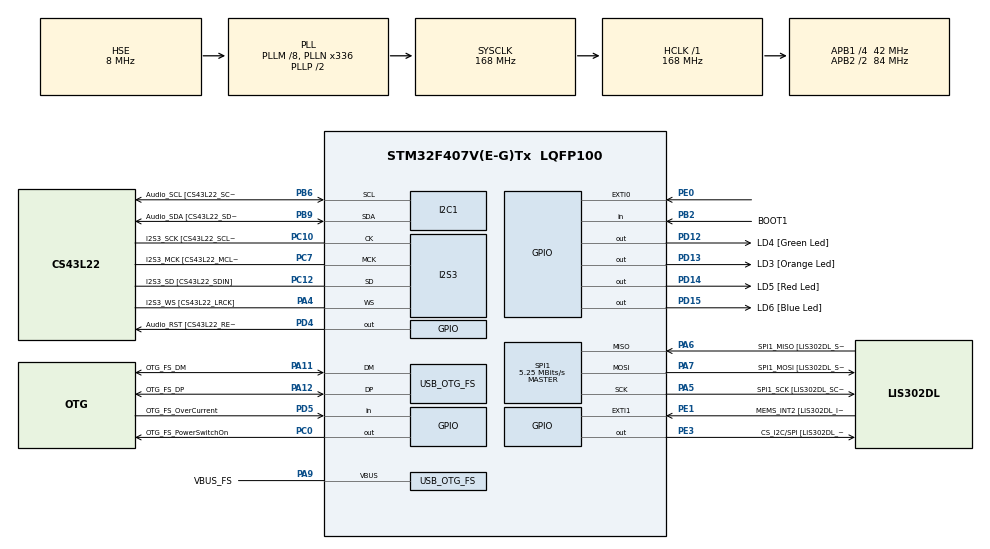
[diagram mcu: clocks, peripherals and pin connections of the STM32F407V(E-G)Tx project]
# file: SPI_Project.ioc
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I2S3.AudioFreq-Half_Duplex_Master=I2S_AUDIOFREQ_96K
I2S3.ErrorAudioFreq=-2.34 %
I2S3.ErrorAudioFreq-Half_Duplex_Master=0.8 %
I2S3.FullDuplexMode=I2S_FULLDUPLEXMODE_DISABLE
I2S3.Instance=SPI$Index
I2S3.RealAudioFreq=93.75 KHz
I2S3.RealAudioFreq-Half_Duplex_Master=96.774 KHz
I2S3.VirtualMode=I2S_MODE_MASTER
Mcu.Family=STM32F4
Mcu.Name=STM32F407V(E-G)Tx
Mcu.Package=LQFP100
NVIC.EXTI0_IRQn=true\:0\:0\:false\:false\:true\:true\:true
NVIC.OTG_FS_IRQn=true\:0\:0\:false\:false\:true\:true\:true
NVIC.PriorityGroup=NVIC_PRIORITYGROUP_0
PA10.GPIO_Label=OTG_FS_ID
PA10.GPIO_Mode=GPIO_MODE_AF_PP
PA10.GPIO_PuPd=GPIO_NOPULL
PA10.GPIO_Speed=GPIO_SPEED_FREQ_LOW
PA10.Signal=USB_OTG_FS_ID
PA11.GPIO_Label=OTG_FS_DM
PA11.GPIO_Mode=GPIO_MODE_AF_PP
PA11.GPIO_PuPd=GPIO_NOPULL
PA11.GPIO_Speed=GPIO_SPEED_FREQ_LOW
PA11.Mode=Host_Only
PA11.Signal=USB_OTG_FS_DM
PA12.GPIO_Label=OTG_FS_DP
PA12.GPIO_Mode=GPIO_MODE_AF_PP
PA12.GPIO_PuPd=GPIO_NOPULL
PA12.GPIO_Speed=GPIO_SPEED_FREQ_LOW
PA12.Mode=Host_Only
PA12.Signal=USB_OTG_FS_DP
PA13.GPIO_Label=SWDIO
PA13.Mode=Serial_Wire
PA13.Signal=SYS_JTMS-SWDIO
PA14.GPIO_Label=SWCLK
PA14.Mode=Serial_Wire
PA14.Signal=SYS_JTCK-SWCLK
PA4.GPIO_Label=I2S3_WS [CS43L22_LRCK]
PA4.GPIO_Mode=GPIO_MODE_AF_PP
PA4.GPIO_PuPd=GPIO_NOPULL
PA4.GPIO_Speed=GPIO_SPEED_FREQ_LOW
PA4.Mode=Half_Duplex_Master
PA4.Signal=I2S3_WS
PA5.GPIO_Label=SPI1_SCK [LIS302DL_SCL/SPC]
PA5.GPIO_Mode=GPIO_MODE_AF_PP
PA5.GPIO_PuPd=GPIO_NOPULL
PA5.GPIO_Speed=GPIO_SPEED_FREQ_LOW
PA5.Mode=Full_Duplex_Master
PA5.Signal=SPI1_SCK
PA6.GPIO_Label=SPI1_MISO [LIS302DL_SDO]
PA6.GPIO_Mode=GPIO_MODE_AF_PP
PA6.GPIO_PuPd=GPIO_NOPULL
PA6.GPIO_Speed=GPIO_SPEED_FREQ_LOW
PA6.Mode=Full_Duplex_Master
PA6.Signal=SPI1_MISO
PA7.GPIO_Label=SPI1_MOSI [LIS302DL_SDA/SDI/SDO]
PA7.GPIO_Mode=GPIO_MODE_AF_PP
PA7.GPIO_PuPd=GPIO_NOPULL
PA7.GPIO_Speed=GPIO_SPEED_FREQ_LOW
PA7.Mode=Full_Duplex_Master
PA7.Signal=SPI1_MOSI
PA9.GPIO_Label=VBUS_FS
PA9.GPIO_Mode=GPIO_MODE_INPUT
PA9.GPIO_PuPd=GPIO_NOPULL
PA9.Mode=Activate_VBUS
PA9.Signal=USB_OTG_FS_VBUS
PB10.GPIO_Label=CLK_IN [MP45DT02_CLK]
PB10.GPIO_Mode=GPIO_MODE_AF_PP
PB10.GPIO_PuPd=GPIO_NOPULL
PB10.GPIO_Speed=GPIO_SPEED_FREQ_LOW
PB10.Signal=I2S2_CK
PB2.GPIO_Label=BOOT1
PB2.GPIO_Mode=GPIO_MODE_INPUT
PB2.GPIO_PuPd=GPIO_NOPULL
PB2.Signal=GPIO_Input
PB3.GPIO_Label=SWO
PB3.Signal=SYS_JTDO-SWO
PB6.GPIO_Label=Audio_SCL [CS43L22_SCL]
PB6.GPIO_Mode=GPIO_MODE_AF_OD
PB6.GPIO_Pu=GPIO_PULLUP
PB6.GPIO_PuPd=GPIO_NOPULL
PB6.GPIO_Speed=GPIO_SPEED_FREQ_LOW
PB6.Mode=I2C
PB6.Signal=I2C1_SCL
PB9.GPIO_Label=Audio_SDA [CS43L22_SDA]
PB9.GPIO_Mode=GPIO_MODE_AF_OD
PB9.GPIO_Pu=GPIO_PULLUP
PB9.GPIO_PuPd=GPIO_NOPULL
PB9.GPIO_Speed=GPIO_SPEED_FREQ_LOW
PB9.Mode=I2C
PB9.Signal=I2C1_SDA
PC0.GPIO_Label=OTG_FS_PowerSwitchOn
PC0.GPIO_PuPd=GPIO_NOPULL
PC0.GPIO_Speed=GPIO_SPEED_FREQ_LOW
PC0.PinState=GPIO_PIN_SET
PC0.Signal=GPIO_Output
PC10.GPIO_Label=I2S3_SCK [CS43L22_SCLK]
PC10.GPIO_Mode=GPIO_MODE_AF_PP
PC10.GPIO_PuPd=GPIO_NOPULL
PC10.GPIO_Speed=GPIO_SPEED_FREQ_LOW
PC10.Mode=Half_Duplex_Master
PC10.Signal=I2S3_CK
PC12.GPIO_Label=I2S3_SD [CS43L22_SDIN]
PC12.GPIO_Mode=GPIO_MODE_AF_PP
PC12.GPIO_PuPd=GPIO_NOPULL
PC12.GPIO_Speed=GPIO_SPEED_FREQ_LOW
PC12.Mode=Half_Duplex_Master
PC12.Signal=I2S3_SD
PC14-OSC32_IN.GPIO_Label=PC14-OSC32_IN
PC14-OSC32_IN.Mode=LSE-External-Oscillator
PC14-OSC32_IN.Signal=RCC_OSC32_IN
PC15-OSC32_OUT.GPIO_Label=PC15-OSC32_OUT
PC15-OSC32_OUT.Mode=LSE-External-Oscillator
PC15-OSC32_OUT.Signal=RCC_OSC32_OUT
PC3.GPIO_Label=PDM_OUT [MP45DT02_DOUT]
PC3.GPIO_Mode=GPIO_MODE_AF_PP
PC3.GPIO_PuPd=GPIO_NOPULL
PC3.GPIO_Speed=GPIO_SPEED_FREQ_LOW
PC3.Signal=I2S2_SD
PC7.GPIO_Label=I2S3_MCK [CS43L22_MCLK]
PC7.GPIO_Mode=GPIO_MODE_AF_PP
PC7.GPIO_PuPd=GPIO_NOPULL
PC7.GPIO_Speed=GPIO_SPEED_FREQ_LOW
PC7.Mode=Master_Clock_Activated
PC7.Signal=I2S3_MCK
PD12.GPIO_Label=LD4 [Green Led]
PD12.GPIO_PuPd=GPIO_NOPULL
PD12.GPIO_Speed=GPIO_SPEED_FREQ_LOW
PD12.Signal=GPIO_Output
PD13.GPIO_Label=LD3 [Orange Led]
PD13.GPIO_PuPd=GPIO_NOPULL
PD13.GPIO_Speed=GPIO_SPEED_FREQ_LOW
PD13.Signal=GPIO_Output
PD14.GPIO_Label=LD5 [Red Led]
PD14.GPIO_PuPd=GPIO_NOPULL
PD14.GPIO_Speed=GPIO_SPEED_FREQ_LOW
PD14.Signal=GPIO_Output
PD15.GPIO_Label=LD6 [Blue Led]
PD15.GPIO_PuPd=GPIO_NOPULL
PD15.GPIO_Speed=GPIO_SPEED_FREQ_LOW
PD15.Signal=GPIO_Output
PD4.GPIO_Label=Audio_RST [CS43L22_RESET]
PD4.GPIO_PuPd=GPIO_NOPULL
PD4.GPIO_Speed=GPIO_SPEED_FREQ_LOW
PD4.Signal=GPIO_Output
PD5.GPIO_Label=OTG_FS_OverCurrent
PD5.GPIO_Mode=GPIO_MODE_INPUT
PD5.GPIO_PuPd=GPIO_NOPULL
PD5.Signal=GPIO_Input
PE0.Signal=GPXTI0
PE1.GPIO_Label=MEMS_INT2 [LIS302DL_INT2]
PE1.GPIO_ModeDefaultEXTI=GPIO_MODE_EVT_RISING
PE1.GPIO_PuPd=GPIO_NOPULL
PE1.Signal=GPXTI1
PE3.GPIO_Label=CS_I2C/SPI [LIS302DL_CS_I2C/SPI]
PE3.GPIO_PuPd=GPIO_NOPULL
PE3.GPIO_Speed=GPIO_SPEED_FREQ_LOW
PE3.Signal=GPIO_Output
PH0-OSC_IN.GPIO_Label=PH0-OSC_IN
PH0-OSC_IN.Mode=HSE-External-Oscillator
PH0-OSC_IN.Signal=RCC_OSC_IN
PH1-OSC_OUT.GPIO_Label=PH1-OSC_OUT
PH1-OSC_OUT.Mode=HSE-External-Oscillator
PH1-OSC_OUT.Signal=RCC_OSC_OUT
ProjectManager.HeapSize=0x200
ProjectManager.StackSize=0x400
ProjectManager.TargetToolchain=STM32CubeIDE
RCC.48MHZClocksFreq_Value=48000000
RCC.AHBFreq_Value=168000000
RCC.APB1CLKDivider=RCC_HCLK_DIV4
RCC.APB1Freq_Value=42000000
RCC.APB1TimFreq_Value=84000000
RCC.APB2CLKDivider=RCC_HCLK_DIV2
RCC.APB2Freq_Value=84000000
RCC.APB2TimFreq_Value=168000000
RCC.CortexFreq_Value=168000000
RCC.HCLKFreq_Value=168000000
RCC.HSE_VALUE=8000000
RCC.HSI_VALUE=16000000
RCC.PLLM=8
RCC.PLLN=336
RCC.PLLQ=7
RCC.SYSCLKFreq_VALUE=168000000
RCC.SYSCLKSource=RCC_SYSCLKSOURCE_PLLCLK
RCC.VCOOutputFreq_Value=336000000
SPI1.BaudRatePrescaler=SPI_BAUDRATEPRESCALER_16
SPI1.BaudRatePrescaler-Full_Duplex_Master=SPI_BAUDRATEPRESCALER_2
SPI1.CalculateBaudRate=5.25 MBits/s
SPI1.CalculateBaudRate-Full_Duplex_Master=42.0 MBits/s
SPI1.Direction=SPI_DIRECTION_2LINES
SPI1.Mode=SPI_MODE_MASTER
SPI1.Mode-Full_Duplex_Master=SPI_MODE_MASTER
SPI1.VirtualType=VM_MASTER
USB_HOST.BSP.number=1
USB_HOST.USBH_HandleTypeDef-CDC_FS=hUsbHostFS
USB_HOST.VirtualModeFS=Cdc
USB_HOST0.BSP.STBoard=false
USB_HOST0.BSP.api=Unknown
USB_HOST0.BSP.i2caddr=0
USB_HOST0.BSP.i2creg=0
USB_HOST0.BSP.instance=PC0
USB_HOST0.BSP.ip=GPIO
USB_HOST0.BSP.mode=Output
USB_HOST0.BSP.name=Drive_VBUS_FS
USB_HOST0.BSP.solution=PC0
USB_OTG_FS.VirtualMode=Host_Only
USB_OTG_FS.phy_itface=HCD_PHY_EMBEDDED
VP_USB_HOST_VS_USB_HOST_CDC_FS.Mode=CDC_FS
board=STM32F407G-DISC1

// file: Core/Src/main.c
/* USER CODE BEGIN Header */
/**
 ******************************************************************************
 * @file           : main.c
 * @brief          : Main program body
 ******************************************************************************
 * @attention
 *
 * Copyright (c) 2022 STMicroelectronics.
 * All rights reserved.
 *
 * This software is licensed under terms that can be found in the LICENSE file
 * in the root directory of this software component.
 * If no LICENSE file comes with this software, it is provided AS-IS.
 *
 ******************************************************************************
 */
/* USER CODE END Header */
#include "main.h"
#include "usb_host.h"

/* USER CODE BEGIN Includes */
#define WHO_AM_I (0x0f)
#define CTRL_REG3 (0x23)
#define CTRL_REG4 (0x20)
#define CTRL_REG5 (0x24)
#define CTRL_REG6 (0x25)
#define FIFO_CTRL (0x2E)
#define OUT_X_H (0x29)
#define OUT_Y_H (0x2B)
#define OUT_Z_H (0x2D)
/* USER CODE END Includes */

I2C_HandleTypeDef hi2c1;

I2S_HandleTypeDef hi2s3;

SPI_HandleTypeDef hspi1;

void SystemClock_Config(void);
static void MX_GPIO_Init(void);
static void MX_I2C1_Init(void);
static void MX_I2S3_Init(void);
static void MX_SPI1_Init(void);
void MX_USB_HOST_Process(void);

/* USER CODE BEGIN 0 */

uint8_t SPI_LIS3DSH_Tx(uint8_t adr, uint8_t data) {

	HAL_GPIO_WritePin(GPIOE, GPIO_PIN_3, GPIO_PIN_RESET); //to start communication set SPI CS PIN(E3) low

	HAL_SPI_Transmit(&hspi1, &adr, 1, 10);
	HAL_SPI_Transmit(&hspi1, &data, 1, 10);

	HAL_GPIO_WritePin(GPIOE, GPIO_PIN_3, GPIO_PIN_SET); //to end communication set SPI CS PIN(E3) high
}

uint8_t SPI_LIS3DSH_Rx(uint8_t adr) {
	uint8_t rx = 0;
//when you read from spi your address data's MSB have to
	adr |= 0x80;

	HAL_GPIO_WritePin(GPIOE, GPIO_PIN_3, GPIO_PIN_RESET); //to start communication set SPI CS PIN(E3) low
	HAL_SPI_Transmit(&hspi1, &adr, 1, 10);
	HAL_SPI_Receive(&hspi1, &rx, 1, 10);
	HAL_GPIO_WritePin(GPIOE, GPIO_PIN_3, GPIO_PIN_SET); //to end communication set SPI CS PIN(E3) high
	return rx;
}

void LIS3DSH_Init() {

	SPI_LIS3DSH_Tx(CTRL_REG6, 0x80); //enable boot
	SPI_LIS3DSH_Tx(CTRL_REG3, 0x01); //reset the sensor
	HAL_Delay(100);
	if (SPI_LIS3DSH_Rx(WHO_AM_I) == 0x3f) { //we check the sensor work or not
		SPI_LIS3DSH_Tx(CTRL_REG3, 0x48); //set interrrupt signal polarity is high and interrupt 1 enable
		SPI_LIS3DSH_Tx(CTRL_REG4, 0x47); //set x,y,z axis enable and output clock is 25 Hz
		SPI_LIS3DSH_Tx(CTRL_REG6, 0x64); //activate fifo, fifo watermark(WTM_EN) and FIFO watermark interrupt
		SPI_LIS3DSH_Tx(FIFO_CTRL, 0x41); //stream mode
	}
}
int x, y, z;
void EXTI0_IRQHandler(void) {
	//this interrupts generates by pina0 so we clear line 0
	__HAL_GPIO_EXTI_CLEAR_IT(GPIO_PIN_0);
	x = SPI_LIS3DSH_Rx(OUT_X_H);
	y = SPI_LIS3DSH_Rx(OUT_Y_H);
	z = SPI_LIS3DSH_Rx(OUT_Z_H);

	if (x > 20) {

		HAL_GPIO_WritePin(GPIOD, GPIO_PIN_14, GPIO_PIN_SET);

	} else {

		HAL_GPIO_WritePin(GPIOD, GPIO_PIN_14, GPIO_PIN_RESET);

	}

	if (y > 20) {

		HAL_GPIO_WritePin(GPIOD, GPIO_PIN_13, GPIO_PIN_SET);

	} else {

		HAL_GPIO_WritePin(GPIOD, GPIO_PIN_13, GPIO_PIN_RESET);

	}

	if (z > 20) {

		HAL_GPIO_WritePin(GPIOD, GPIO_PIN_12, GPIO_PIN_SET);

	} else {

		HAL_GPIO_WritePin(GPIOD, GPIO_PIN_12, GPIO_PIN_RESET);

	}

}
/* USER CODE END 0 */

int main(void) {

	/* MCU Configuration--------------------------------------------------------*/

	/* Reset of all peripherals, Initializes the Flash interface and the Systick. */
	HAL_Init();

	/* Configure the system clock */
	SystemClock_Config();

	/* Initialize all configured peripherals */
	MX_GPIO_Init();
	MX_I2C1_Init();
	MX_I2S3_Init();
	MX_SPI1_Init();
	MX_USB_HOST_Init();
	/* USER CODE BEGIN 2 */

	LIS3DSH_Init();

	/* USER CODE END 2 */

	/* Infinite loop */
	while (1) {
		MX_USB_HOST_Process();

	}
	/* USER CODE END 3 */
}

void SystemClock_Config(void) {
	RCC_OscInitTypeDef RCC_OscInitStruct = { 0 };
	RCC_ClkInitTypeDef RCC_ClkInitStruct = { 0 };

	/** Configure the main internal regulator output voltage
	 */
	__HAL_RCC_PWR_CLK_ENABLE();
	__HAL_PWR_VOLTAGESCALING_CONFIG(PWR_REGULATOR_VOLTAGE_SCALE1);
	/** Initializes the RCC Oscillators according to the specified parameters
	 * in the RCC_OscInitTypeDef structure.
	 */
	RCC_OscInitStruct.OscillatorType = RCC_OSCILLATORTYPE_HSE;
	RCC_OscInitStruct.HSEState = RCC_HSE_ON;
	RCC_OscInitStruct.PLL.PLLState = RCC_PLL_ON;
	RCC_OscInitStruct.PLL.PLLSource = RCC_PLLSOURCE_HSE;
	RCC_OscInitStruct.PLL.PLLM = 8;
	RCC_OscInitStruct.PLL.PLLN = 336;
	RCC_OscInitStruct.PLL.PLLP = RCC_PLLP_DIV2;
	RCC_OscInitStruct.PLL.PLLQ = 7;
	if (HAL_RCC_OscConfig(&RCC_OscInitStruct) != HAL_OK) {
		Error_Handler();
	}
	/** Initializes the CPU, AHB and APB buses clocks
	 */
	RCC_ClkInitStruct.ClockType = RCC_CLOCKTYPE_HCLK | RCC_CLOCKTYPE_SYSCLK
			| RCC_CLOCKTYPE_PCLK1 | RCC_CLOCKTYPE_PCLK2;
	RCC_ClkInitStruct.SYSCLKSource = RCC_SYSCLKSOURCE_PLLCLK;
	RCC_ClkInitStruct.AHBCLKDivider = RCC_SYSCLK_DIV1;
	RCC_ClkInitStruct.APB1CLKDivider = RCC_HCLK_DIV4;
	RCC_ClkInitStruct.APB2CLKDivider = RCC_HCLK_DIV2;

	if (HAL_RCC_ClockConfig(&RCC_ClkInitStruct, FLASH_LATENCY_5) != HAL_OK) {
		Error_Handler();
	}
}

static void MX_I2C1_Init(void) {

	hi2c1.Instance = I2C1;
	hi2c1.Init.ClockSpeed = 100000;
	hi2c1.Init.DutyCycle = I2C_DUTYCYCLE_2;
	hi2c1.Init.OwnAddress1 = 0;
	hi2c1.Init.AddressingMode = I2C_ADDRESSINGMODE_7BIT;
	hi2c1.Init.DualAddressMode = I2C_DUALADDRESS_DISABLE;
	hi2c1.Init.OwnAddress2 = 0;
	hi2c1.Init.GeneralCallMode = I2C_GENERALCALL_DISABLE;
	hi2c1.Init.NoStretchMode = I2C_NOSTRETCH_DISABLE;
	if (HAL_I2C_Init(&hi2c1) != HAL_OK) {
		Error_Handler();
	}

}

static void MX_I2S3_Init(void) {

	hi2s3.Instance = SPI3;
	hi2s3.Init.Mode = I2S_MODE_MASTER_TX;
	hi2s3.Init.Standard = I2S_STANDARD_PHILIPS;
	hi2s3.Init.DataFormat = I2S_DATAFORMAT_16B;
	hi2s3.Init.MCLKOutput = I2S_MCLKOUTPUT_ENABLE;
	hi2s3.Init.AudioFreq = I2S_AUDIOFREQ_96K;
	hi2s3.Init.CPOL = I2S_CPOL_LOW;
	hi2s3.Init.ClockSource = I2S_CLOCK_PLL;
	hi2s3.Init.FullDuplexMode = I2S_FULLDUPLEXMODE_DISABLE;
	if (HAL_I2S_Init(&hi2s3) != HAL_OK) {
		Error_Handler();
	}

}

static void MX_SPI1_Init(void) {

	/* SPI1 parameter configuration*/
	hspi1.Instance = SPI1;
	hspi1.Init.Mode = SPI_MODE_MASTER;
	hspi1.Init.Direction = SPI_DIRECTION_2LINES;
	hspi1.Init.DataSize = SPI_DATASIZE_8BIT;
	hspi1.Init.CLKPolarity = SPI_POLARITY_LOW;
	hspi1.Init.CLKPhase = SPI_PHASE_1EDGE;
	hspi1.Init.NSS = SPI_NSS_SOFT;
	hspi1.Init.BaudRatePrescaler = SPI_BAUDRATEPRESCALER_16;
	hspi1.Init.FirstBit = SPI_FIRSTBIT_MSB;
	hspi1.Init.TIMode = SPI_TIMODE_DISABLE;
	hspi1.Init.CRCCalculation = SPI_CRCCALCULATION_DISABLE;
	hspi1.Init.CRCPolynomial = 10;
	if (HAL_SPI_Init(&hspi1) != HAL_OK) {
		Error_Handler();
	}

}

static void MX_GPIO_Init(void) {
	GPIO_InitTypeDef GPIO_InitStruct = { 0 };

	/* GPIO Ports Clock Enable */
	__HAL_RCC_GPIOE_CLK_ENABLE();
	__HAL_RCC_GPIOC_CLK_ENABLE();
	__HAL_RCC_GPIOH_CLK_ENABLE();
	__HAL_RCC_GPIOA_CLK_ENABLE();
	__HAL_RCC_GPIOB_CLK_ENABLE();
	__HAL_RCC_GPIOD_CLK_ENABLE();

	/*Configure GPIO pin Output Level */
	HAL_GPIO_WritePin(CS_I2C_SPI_GPIO_Port, CS_I2C_SPI_Pin, GPIO_PIN_RESET);

	/*Configure GPIO pin Output Level */
	HAL_GPIO_WritePin(OTG_FS_PowerSwitchOn_GPIO_Port, OTG_FS_PowerSwitchOn_Pin,
			GPIO_PIN_SET);

	/*Configure GPIO pin Output Level */
	HAL_GPIO_WritePin(GPIOD,
			LD4_Pin | LD3_Pin | LD5_Pin | LD6_Pin | Audio_RST_Pin,
			GPIO_PIN_RESET);

	/*Configure GPIO pin : CS_I2C_SPI_Pin */
	GPIO_InitStruct.Pin = CS_I2C_SPI_Pin;
	GPIO_InitStruct.Mode = GPIO_MODE_OUTPUT_PP;
	GPIO_InitStruct.Pull = GPIO_NOPULL;
	GPIO_InitStruct.Speed = GPIO_SPEED_FREQ_LOW;
	HAL_GPIO_Init(CS_I2C_SPI_GPIO_Port, &GPIO_InitStruct);

	/*Configure GPIO pin : OTG_FS_PowerSwitchOn_Pin */
	GPIO_InitStruct.Pin = OTG_FS_PowerSwitchOn_Pin;
	GPIO_InitStruct.Mode = GPIO_MODE_OUTPUT_PP;
	GPIO_InitStruct.Pull = GPIO_NOPULL;
	GPIO_InitStruct.Speed = GPIO_SPEED_FREQ_LOW;
	HAL_GPIO_Init(OTG_FS_PowerSwitchOn_GPIO_Port, &GPIO_InitStruct);

	/*Configure GPIO pin : PDM_OUT_Pin */
	GPIO_InitStruct.Pin = PDM_OUT_Pin;
	GPIO_InitStruct.Mode = GPIO_MODE_AF_PP;
	GPIO_InitStruct.Pull = GPIO_NOPULL;
	GPIO_InitStruct.Speed = GPIO_SPEED_FREQ_LOW;
	GPIO_InitStruct.Alternate = GPIO_AF5_SPI2;
	HAL_GPIO_Init(PDM_OUT_GPIO_Port, &GPIO_InitStruct);

	/*Configure GPIO pin : BOOT1_Pin */
	GPIO_InitStruct.Pin = BOOT1_Pin;
	GPIO_InitStruct.Mode = GPIO_MODE_INPUT;
	GPIO_InitStruct.Pull = GPIO_NOPULL;
	HAL_GPIO_Init(BOOT1_GPIO_Port, &GPIO_InitStruct);

	/*Configure GPIO pin : CLK_IN_Pin */
	GPIO_InitStruct.Pin = CLK_IN_Pin;
	GPIO_InitStruct.Mode = GPIO_MODE_AF_PP;
	GPIO_InitStruct.Pull = GPIO_NOPULL;
	GPIO_InitStruct.Speed = GPIO_SPEED_FREQ_LOW;
	GPIO_InitStruct.Alternate = GPIO_AF5_SPI2;
	HAL_GPIO_Init(CLK_IN_GPIO_Port, &GPIO_InitStruct);

	/*Configure GPIO pins : LD4_Pin LD3_Pin LD5_Pin LD6_Pin
	 Audio_RST_Pin */
	GPIO_InitStruct.Pin = LD4_Pin | LD3_Pin | LD5_Pin | LD6_Pin | Audio_RST_Pin;
	GPIO_InitStruct.Mode = GPIO_MODE_OUTPUT_PP;
	GPIO_InitStruct.Pull = GPIO_NOPULL;
	GPIO_InitStruct.Speed = GPIO_SPEED_FREQ_LOW;
	HAL_GPIO_Init(GPIOD, &GPIO_InitStruct);

	/*Configure GPIO pin : OTG_FS_OverCurrent_Pin */
	GPIO_InitStruct.Pin = OTG_FS_OverCurrent_Pin;
	GPIO_InitStruct.Mode = GPIO_MODE_INPUT;
	GPIO_InitStruct.Pull = GPIO_NOPULL;
	HAL_GPIO_Init(OTG_FS_OverCurrent_GPIO_Port, &GPIO_InitStruct);

	/*Configure GPIO pin : PE0 */
	GPIO_InitStruct.Pin = GPIO_PIN_0;
	GPIO_InitStruct.Mode = GPIO_MODE_IT_RISING;
	GPIO_InitStruct.Pull = GPIO_NOPULL;
	HAL_GPIO_Init(GPIOE, &GPIO_InitStruct);

	/*Configure GPIO pin : MEMS_INT2_Pin */
	GPIO_InitStruct.Pin = MEMS_INT2_Pin;
	GPIO_InitStruct.Mode = GPIO_MODE_EVT_RISING;
	GPIO_InitStruct.Pull = GPIO_NOPULL;
	HAL_GPIO_Init(MEMS_INT2_GPIO_Port, &GPIO_InitStruct);

	/* EXTI interrupt init*/
	HAL_NVIC_SetPriority(EXTI0_IRQn, 0, 0);
	HAL_NVIC_EnableIRQ(EXTI0_IRQn);

}

void Error_Handler(void) {
	__disable_irq();
	while (1) {
	}
}
